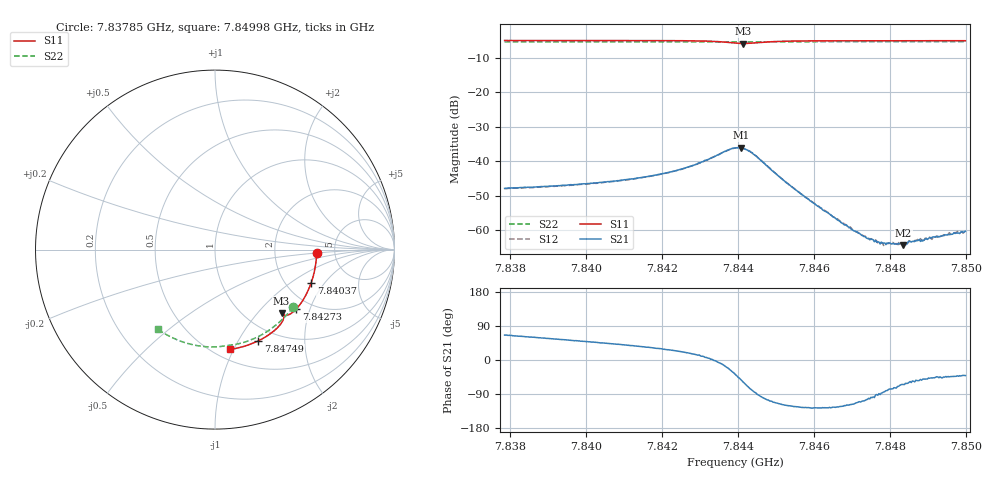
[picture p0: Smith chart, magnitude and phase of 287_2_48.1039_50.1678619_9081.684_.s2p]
#  HZ  S  RI  R  50.00
! Rohde & Schwarz Vector Network Analyzer
! Rohde-Schwarz,ZNB20-2Port,1311601062101988,3.16
! Created: UTC 12/23/2023, 4:03:22 AM
! freq[Hz]  re:S11  im:S11  re:S21  im:S21  re:S12  im:S12  re:S22  im:S22
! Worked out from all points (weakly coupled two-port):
!   401 points, 7.83785 GHz to 7.84998 GHz, reference 50 ohm
!   highest |S21| = -36.05 dB at 7.84407 GHz (marker M1); lowest = -64.3 dB at 7.84834 GHz (marker M2)
!   lowest |S11| = -5.8 dB at 7.84413 GHz (marker M3), VSWR 3.10, Z = 70.9 - j67.9 ohm
!   |S11| at or under -10 dB: nowhere
!   |S22| runs from -5.4 to -5.3 dB; largest |S21 - S12| = 0.00033
!   S11 on the Smith chart (normalised r, x): 7.83785 GHz: 3.60, -0.22; 7.84037 GHz: 2.71, -1.49; 7.84273 GHz: 1.68, -1.62; 7.84749 GHz: 0.82, -1.22; 7.84998 GHz: 0.59, -0.97
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7.837852e9  0.5663 -0.0209  0.00166 0.00368  0.00167 0.00364  0.435 -0.3198
7.839883e9  0.5456 -0.1545  0.00302 0.00355  0.00298 0.00352  0.3369 -0.4227
7.840368e9  0.5357 -0.1859  0.00348 0.0035  0.00338 0.00345  0.3099 -0.4432
7.841914e9  0.49 -0.2819  0.00557 0.00324  0.00553 0.00325  0.2156 -0.4965
7.842733e9  0.4539 -0.3303  0.00803 0.00253  0.00799 0.00257  0.1615 -0.5167
7.84346e9  0.4065 -0.3645  0.0124 -0.00118  0.0122 -0.00109  0.1117 -0.5289
7.843915e9  0.3732 -0.3611  0.0125 -0.00947  0.0124 -0.00929  0.0813 -0.5327
7.844066e9  0.3705 -0.3547  0.00977 -0.0124  0.00979 -0.0122  0.0718 -0.534
7.844127e9  0.3713 -0.353  0.0082 -0.0131  0.00825 -0.0131  0.0681 -0.5347
7.8444e9  0.3809 -0.3563  0.00155 -0.0125  0.00158 -0.0127  0.0507 -0.5374
7.845218e9  0.368 -0.4117  -0.00246 -0.00454  -0.00245 -0.00455  -0.00646 -0.5428
7.845946e9  0.3316 -0.4506  -0.00153 -0.00204  -0.00154 -0.00206  -0.058 -0.5404
7.847037e9  0.269 -0.4937  -0.000434 -0.000875  -0.000427 -0.00091  -0.1334 -0.5277
7.847491e9  0.2418 -0.508  -0.00011 -0.000732  -0.000146 -0.000738  -0.1643 -0.5192
7.847764e9  0.2251 -0.5159  3.12e-05 -0.000671  3.37e-05 -0.000652  -0.1825 -0.5133
7.847976e9  0.2119 -0.5216  0.000155 -0.000636  0.000111 -0.000642  -0.1966 -0.5083
7.84834e9  0.1889 -0.5303  0.000261 -0.000548  0.000275 -0.000571  -0.22 -0.4986
7.848522e9  0.1774 -0.5342  0.000375 -0.000575  0.000349 -0.000588  -0.2319 -0.4936
7.848855e9  0.1563 -0.5409  0.000445 -0.000536  0.000452 -0.000587  -0.2528 -0.4834
7.849098e9  0.1405 -0.545  0.000532 -0.00058  0.000488 -0.000551  -0.2679 -0.4753
7.849765e9  0.097 -0.5541  0.00068 -0.000603  0.000724 -0.000629  -0.3077 -0.4509
7.849977e9  0.0831 -0.5564  0.000728 -0.000633  0.0007 -0.00064  -0.32 -0.4425
